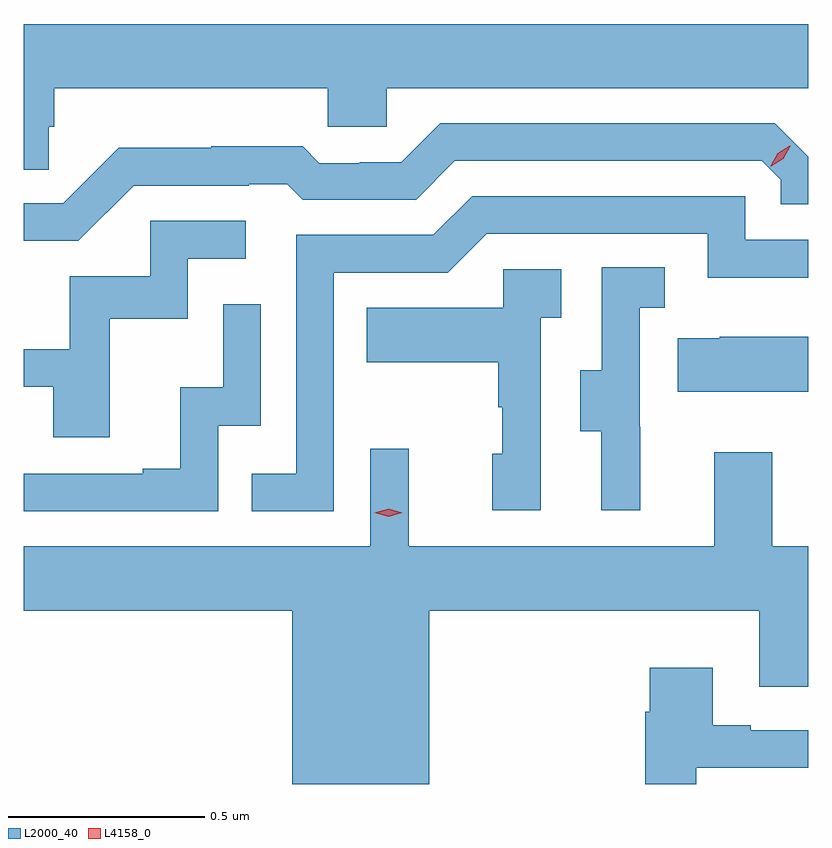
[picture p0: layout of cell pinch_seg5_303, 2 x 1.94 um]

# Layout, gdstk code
import gdstk
lib = gdstk.Library(unit=1e-6, precision=1e-09)
def P(c, l, *ps):  # polygons
    for p in ps: c.add(gdstk.Polygon(p, *l))
L2000_40 = (2000, 40)
L4158_0 = (4158, 0)

pinch_seg5_303 = lib.new_cell('pinch_seg5_303')
P(pinch_seg5_303, L2000_40, [(891.335,892.626),(891.35,892.626),(891.35,892.724),(892.047,892.724),(892.047,892.626),(892.197,892.626),(892.197,892.724),(893.272,892.724),(893.272,892.888),(891.272,892.888),(891.272,892.516),(891.335,892.516)],
  [(891.552,892.476),(891.845,892.476),(891.845,892.479),(891.944,892.479),(891.983,892.44),(892.272,892.44),(892.371,892.539),(893.154,892.539),(893.202,892.491),(893.202,892.428),(893.272,892.428),(893.272,892.55),(893.187,892.635),(892.334,892.635),(892.235,892.536),(892.128,892.536),(892.128,892.533),(892.025,892.533),(891.983,892.576),(891.75,892.576),(891.75,892.573),(891.514,892.573),(891.372,892.431),(891.272,892.431),(891.272,892.335),(891.411,892.335)],
  [(892.062,892.254),(892.353,892.254),(892.452,892.353),(893.016,892.353),(893.016,892.241),(893.272,892.241),(893.272,892.338),(893.112,892.338),(893.112,892.449),(892.415,892.449),(892.316,892.35),(891.966,892.35),(891.966,891.741),(891.853,891.741),(891.853,891.645),(892.062,891.645)],
  [(891.491,892.137),(891.69,892.137),(891.69,892.29),(891.838,892.29),(891.838,892.386),(891.594,892.386),(891.594,892.245),(891.389,892.245),(891.389,892.059),(891.272,892.059),(891.272,891.963),(891.347,891.963),(891.347,891.834),(891.491,891.834)],
  [(892.844,891.861),(892.842,891.861),(892.842,892.165),(892.906,892.165),(892.906,892.268),(892.746,892.268),(892.746,892.005),(892.691,892.005),(892.691,891.85),(892.745,891.85),(892.745,891.648),(892.844,891.648)],
  [(892.59,892.139),(892.642,892.139),(892.642,892.263),(892.494,892.263),(892.494,892.165),(892.147,892.165),(892.147,892.025),(892.482,892.025),(892.482,891.911),(892.492,891.911),(892.492,891.792),(892.466,891.792),(892.466,891.648),(892.59,891.648)],
  [(891.768,891.864),(891.876,891.864),(891.876,892.174),(891.78,892.174),(891.78,891.962),(891.671,891.962),(891.671,891.754),(891.575,891.754),(891.575,891.741),(891.272,891.741),(891.272,891.645),(891.768,891.645)],
  [(893.272,892.09),(893.047,892.09),(893.047,892.087),(892.939,892.087),(892.939,891.95),(893.272,891.95)],
  [(892.306,891.392),(893.147,891.392),(893.147,891.198),(893.272,891.198),(893.272,891.556),(893.181,891.556),(893.181,891.796),(893.033,891.796),(893.033,891.556),(892.253,891.556),(892.253,891.805),(892.155,891.805),(892.155,891.556),(891.272,891.556),(891.272,891.392),(891.956,891.392),(891.956,890.95),(892.306,890.95)],
  [(892.987,890.991),(893.272,890.991),(893.272,891.087),(893.125,891.087),(893.125,891.1),(893.029,891.1),(893.029,891.247),(892.868,891.247),(892.868,891.134),(892.856,891.134),(892.856,890.95),(892.987,890.95)])
P(pinch_seg5_303, L4158_0, [(893.177,892.525),(893.177,892.526),(893.194,892.558),(893.225,892.577),(893.226,892.577),(893.226,892.576),(893.209,892.544),(893.178,892.525)],
  [(892.202,891.632),(892.166,891.642),(892.166,891.642),(892.166,891.642),(892.202,891.652),(892.237,891.642),(892.237,891.642),(892.237,891.642)])

lib.write_gds('pinch_seg5_303.gds')
